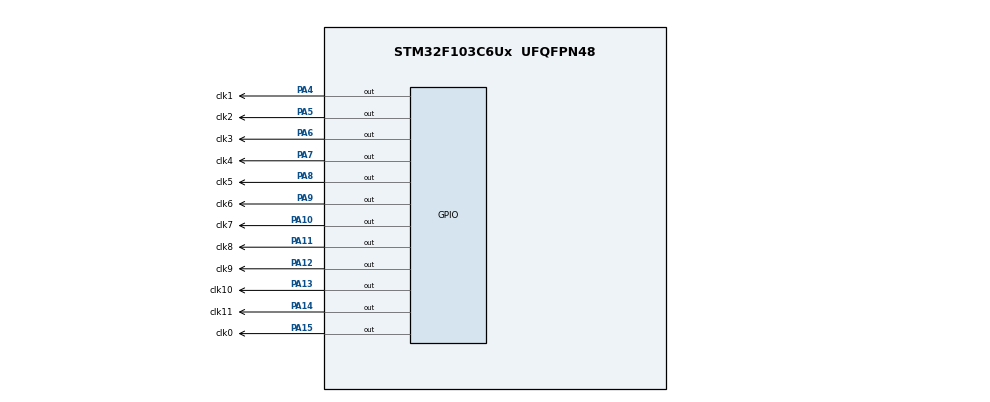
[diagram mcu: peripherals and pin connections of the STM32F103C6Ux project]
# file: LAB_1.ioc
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Mcu.Family=STM32F1
Mcu.Name=STM32F103C6Ux
Mcu.Package=UFQFPN48
NVIC.PriorityGroup=NVIC_PRIORITYGROUP_4
PA10.GPIO_Label=clk7
PA10.Signal=GPIO_Output
PA11.GPIO_Label=clk8
PA11.Signal=GPIO_Output
PA12.GPIO_Label=clk9
PA12.Signal=GPIO_Output
PA13.GPIO_Label=clk10
PA13.Signal=GPIO_Output
PA14.GPIO_Label=clk11
PA14.Signal=GPIO_Output
PA15.GPIO_Label=clk0
PA15.Signal=GPIO_Output
PA4.GPIO_Label=clk1
PA4.Signal=GPIO_Output
PA5.GPIO_Label=clk2
PA5.Signal=GPIO_Output
PA6.GPIO_Label=clk3
PA6.Signal=GPIO_Output
PA7.GPIO_Label=clk4
PA7.Signal=GPIO_Output
PA8.GPIO_Label=clk5
PA8.Signal=GPIO_Output
PA9.GPIO_Label=clk6
PA9.Signal=GPIO_Output
ProjectManager.HeapSize=0x200
ProjectManager.StackSize=0x400
ProjectManager.TargetToolchain=STM32CubeIDE
RCC.APB1Freq_Value=8000000
RCC.APB2Freq_Value=8000000
VP_SYS_VS_ND.Mode=No_Debug
board=custom

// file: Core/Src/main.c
/* USER CODE BEGIN Header */
/**
  ******************************************************************************
  * @file           : main.c
  * @brief          : Main program body
  ******************************************************************************
  * @attention
  *
  * <h2><center>&copy; Copyright (c) 2023 STMicroelectronics.
  * All rights reserved.</center></h2>
  *
  * This software component is licensed by ST under BSD 3-Clause license,
  * the "License"; You may not use this file except in compliance with the
  * License. You may obtain a copy of the License at:
  *                        opensource.org/licenses/BSD-3-Clause
  *
  ******************************************************************************
  */
/* USER CODE END Header */
#include "main.h"

void SystemClock_Config(void);
static void MX_GPIO_Init(void);

/* USER CODE BEGIN 0 */
void clearAllClock();
void setNumberOnClock(int);
void clearNumberOnClock(int);
/* USER CODE END 0 */

int main(void)
{

  /* MCU Configuration--------------------------------------------------------*/

  /* Reset of all peripherals, Initializes the Flash interface and the Systick. */
  HAL_Init();

  /* Configure the system clock */
  SystemClock_Config();

  /* Initialize all configured peripherals */
  MX_GPIO_Init();

  /* Infinite loop */
  /* USER CODE BEGIN WHILE */

  // initialize second, minute and hour parameter
  int num = 0;

  while (1)
  {
	 switch (num)
	 {
	 case 0:
		 HAL_GPIO_TogglePin(clk0_GPIO_Port, clk0_Pin);
		 break;

	 case 1:
		 HAL_GPIO_TogglePin(clk1_GPIO_Port, clk1_Pin);
		 break;
	 case 2:
		 HAL_GPIO_TogglePin(clk2_GPIO_Port, clk2_Pin);
		 break;

	 case 3:
		 HAL_GPIO_TogglePin(clk3_GPIO_Port, clk3_Pin);
		 break;

	 case 4:
		 HAL_GPIO_TogglePin(clk4_GPIO_Port, clk4_Pin);
		 break;

	 case 5:
		 HAL_GPIO_TogglePin(clk5_GPIO_Port, clk5_Pin);
		 break;

	 case 6:
		 HAL_GPIO_TogglePin(clk6_GPIO_Port, clk6_Pin);
		 break;

	 case 7:
		 HAL_GPIO_TogglePin(clk7_GPIO_Port, clk7_Pin);
		 break;

	 case 8:
		 HAL_GPIO_TogglePin(clk8_GPIO_Port, clk8_Pin);
		 break;

	 case 9:
		 HAL_GPIO_TogglePin(clk9_GPIO_Port, clk9_Pin);
		 break;

	 case 10:
		 HAL_GPIO_TogglePin(clk10_GPIO_Port, clk10_Pin);
		 break;

	 case 11:
		 HAL_GPIO_TogglePin(clk11_GPIO_Port, clk11_Pin);
		 break;

	 default:
		 break;
	 }
	 num++;
	 if  (num >= 12) num = 0;
	 HAL_Delay(100);

    /* USER CODE END WHILE */

  }
}

void SystemClock_Config(void)
{
  RCC_OscInitTypeDef RCC_OscInitStruct = {0};
  RCC_ClkInitTypeDef RCC_ClkInitStruct = {0};

  /** Initializes the RCC Oscillators according to the specified parameters
  * in the RCC_OscInitTypeDef structure.
  */
  RCC_OscInitStruct.OscillatorType = RCC_OSCILLATORTYPE_HSI;
  RCC_OscInitStruct.HSIState = RCC_HSI_ON;
  RCC_OscInitStruct.HSICalibrationValue = RCC_HSICALIBRATION_DEFAULT;
  RCC_OscInitStruct.PLL.PLLState = RCC_PLL_NONE;
  if (HAL_RCC_OscConfig(&RCC_OscInitStruct) != HAL_OK)
  {
    Error_Handler();
  }
  /** Initializes the CPU, AHB and APB buses clocks
  */
  RCC_ClkInitStruct.ClockType = RCC_CLOCKTYPE_HCLK|RCC_CLOCKTYPE_SYSCLK
                              |RCC_CLOCKTYPE_PCLK1|RCC_CLOCKTYPE_PCLK2;
  RCC_ClkInitStruct.SYSCLKSource = RCC_SYSCLKSOURCE_HSI;
  RCC_ClkInitStruct.AHBCLKDivider = RCC_SYSCLK_DIV1;
  RCC_ClkInitStruct.APB1CLKDivider = RCC_HCLK_DIV1;
  RCC_ClkInitStruct.APB2CLKDivider = RCC_HCLK_DIV1;

  if (HAL_RCC_ClockConfig(&RCC_ClkInitStruct, FLASH_LATENCY_0) != HAL_OK)
  {
    Error_Handler();
  }
}

static void MX_GPIO_Init(void)
{
  GPIO_InitTypeDef GPIO_InitStruct = {0};

  /* GPIO Ports Clock Enable */
  __HAL_RCC_GPIOA_CLK_ENABLE();

  /*Configure GPIO pin Output Level */
  HAL_GPIO_WritePin(GPIOA, clk1_Pin|clk2_Pin|clk3_Pin|clk4_Pin
                          |clk5_Pin|clk6_Pin|clk7_Pin|clk8_Pin
                          |clk9_Pin|clk10_Pin|clk11_Pin|clk0_Pin, GPIO_PIN_SET);

  /*Configure GPIO pins : clk1_Pin clk2_Pin clk3_Pin clk4_Pin
                           clk5_Pin clk6_Pin clk7_Pin clk8_Pin
                           clk9_Pin clk10_Pin clk11_Pin clk0_Pin */
  GPIO_InitStruct.Pin = clk1_Pin|clk2_Pin|clk3_Pin|clk4_Pin
                          |clk5_Pin|clk6_Pin|clk7_Pin|clk8_Pin
                          |clk9_Pin|clk10_Pin|clk11_Pin|clk0_Pin;
  GPIO_InitStruct.Mode = GPIO_MODE_OUTPUT_PP;
  GPIO_InitStruct.Pull = GPIO_NOPULL;
  GPIO_InitStruct.Speed = GPIO_SPEED_FREQ_LOW;
  HAL_GPIO_Init(GPIOA, &GPIO_InitStruct);

}

/* USER CODE BEGIN 4 */

void clearAllClock()
{
	HAL_GPIO_WritePin(clk0_GPIO_Port, clk0_Pin, GPIO_PIN_SET);
	HAL_GPIO_WritePin(clk1_GPIO_Port, clk1_Pin, GPIO_PIN_SET);
	HAL_GPIO_WritePin(clk2_GPIO_Port, clk2_Pin, GPIO_PIN_SET);
	HAL_GPIO_WritePin(clk3_GPIO_Port, clk3_Pin, GPIO_PIN_SET);
	HAL_GPIO_WritePin(clk4_GPIO_Port, clk4_Pin, GPIO_PIN_SET);
	HAL_GPIO_WritePin(clk5_GPIO_Port, clk5_Pin, GPIO_PIN_SET);
	HAL_GPIO_WritePin(clk6_GPIO_Port, clk6_Pin, GPIO_PIN_SET);
	HAL_GPIO_WritePin(clk7_GPIO_Port, clk7_Pin, GPIO_PIN_SET);
	HAL_GPIO_WritePin(clk8_GPIO_Port, clk8_Pin, GPIO_PIN_SET);
	HAL_GPIO_WritePin(clk9_GPIO_Port, clk9_Pin, GPIO_PIN_SET);
	HAL_GPIO_WritePin(clk10_GPIO_Port, clk10_Pin, GPIO_PIN_SET);
	HAL_GPIO_WritePin(clk11_GPIO_Port, clk11_Pin, GPIO_PIN_SET);
}

void setNumberOnClock(int num)
{
	switch (num)
	{
	case 0:
		HAL_GPIO_WritePin(clk0_GPIO_Port, clk0_Pin, GPIO_PIN_RESET);
		break;

	case 1:
		HAL_GPIO_WritePin(clk1_GPIO_Port, clk1_Pin, GPIO_PIN_RESET);
		break;

	case 2:
		HAL_GPIO_WritePin(clk2_GPIO_Port, clk2_Pin, GPIO_PIN_RESET);
		break;

	case 3:
		HAL_GPIO_WritePin(clk3_GPIO_Port, clk3_Pin, GPIO_PIN_RESET);
		break;

	case 4:
		HAL_GPIO_WritePin(clk4_GPIO_Port, clk4_Pin, GPIO_PIN_RESET);
		break;

	case 5:
		HAL_GPIO_WritePin(clk5_GPIO_Port, clk5_Pin, GPIO_PIN_RESET);
		break;

	case 6:
		HAL_GPIO_WritePin(clk6_GPIO_Port, clk6_Pin, GPIO_PIN_RESET);
		break;

	case 7:
		HAL_GPIO_WritePin(clk7_GPIO_Port, clk7_Pin, GPIO_PIN_RESET);
		break;

	case 8:
		HAL_GPIO_WritePin(clk8_GPIO_Port, clk8_Pin, GPIO_PIN_RESET);
		break;

	case 9:
		HAL_GPIO_WritePin(clk9_GPIO_Port, clk9_Pin, GPIO_PIN_RESET);
		break;

	case 10:
		HAL_GPIO_WritePin(clk10_GPIO_Port, clk10_Pin, GPIO_PIN_RESET);
		break;

	case 11:
		HAL_GPIO_WritePin(clk11_GPIO_Port, clk11_Pin, GPIO_PIN_RESET);
		break;

	default:
		break;
	}
}

void clearNumberOnClock(int num)
{
	switch (num)
	{
	case 0:
		HAL_GPIO_WritePin(clk0_GPIO_Port, clk0_Pin, GPIO_PIN_SET);
		break;

	case 1:
		HAL_GPIO_WritePin(clk1_GPIO_Port, clk1_Pin, GPIO_PIN_SET);
		break;

	case 2:
		HAL_GPIO_WritePin(clk2_GPIO_Port, clk2_Pin, GPIO_PIN_SET);
		break;

	case 3:
		HAL_GPIO_WritePin(clk3_GPIO_Port, clk3_Pin, GPIO_PIN_SET);
		break;

	case 4:
		HAL_GPIO_WritePin(clk4_GPIO_Port, clk4_Pin, GPIO_PIN_SET);
		break;

	case 5:
		HAL_GPIO_WritePin(clk5_GPIO_Port, clk5_Pin, GPIO_PIN_SET);
		break;

	case 6:
		HAL_GPIO_WritePin(clk6_GPIO_Port, clk6_Pin, GPIO_PIN_SET);
		break;

	case 7:
		HAL_GPIO_WritePin(clk7_GPIO_Port, clk7_Pin, GPIO_PIN_SET);
		break;

	case 8:
		HAL_GPIO_WritePin(clk8_GPIO_Port, clk8_Pin, GPIO_PIN_SET);
		break;

	case 9:
		HAL_GPIO_WritePin(clk9_GPIO_Port, clk9_Pin, GPIO_PIN_SET);
		break;

	case 10:
		HAL_GPIO_WritePin(clk10_GPIO_Port, clk10_Pin, GPIO_PIN_SET);
		break;

	case 11:
		HAL_GPIO_WritePin(clk11_GPIO_Port, clk11_Pin, GPIO_PIN_SET);
		break;

	default:
		break;
	}
}

/* USER CODE END 4 */

void Error_Handler(void)
{
  __disable_irq();
  while (1)
  {
  }
}

/************************ (C) COPYRIGHT STMicroelectronics *****END OF FILE****/
